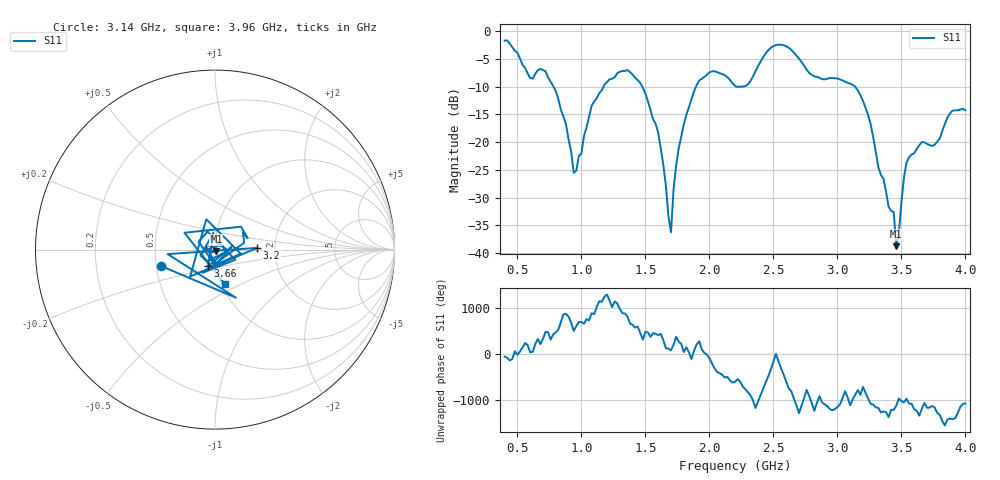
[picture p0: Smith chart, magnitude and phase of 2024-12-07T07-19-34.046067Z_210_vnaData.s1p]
!Created with skrf (http://scikit-rf.org).
# Hz S RI R 50.0
!freq ReS11 ImS11
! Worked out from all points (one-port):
!   181 points, 400 MHz to 4 GHz, reference 50 ohm
!   lowest |S11| = -38.7 dB at 3.46 GHz (marker M1), VSWR 1.02, Z = 50.8 - j0.88 ohm
!   |S11| at or under -10 dB: 782.1 MHz to 1.172 GHz (390.1 MHz wide, 39.9 % of centre); 1.476 GHz to 1.895 GHz (419 MHz wide, 24.9 % of centre); 3.14 GHz to end of sweep (the widest 3 of 4)
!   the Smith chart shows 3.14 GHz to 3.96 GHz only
!   S11 on the Smith chart (normalised r, x): 3.14 GHz: 0.53, -0.11; 3.2 GHz: 1.61, +0.03; 3.66 GHz: 0.91, -0.17; 3.96 GHz: 1.03, -0.41
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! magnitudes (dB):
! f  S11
! 400 MHz  -1.7
! 600 MHz  -8.4
! 720 MHz  -7.2
! 860 MHz  -15.4
! 940 MHz  -25.5
! 1.08 GHz  -13.4
! 1.3 GHz  -7.3
! 1.46 GHz  -9.3
! 1.58 GHz  -16.7
! 1.64 GHz  -24.1
! 1.7 GHz  -36.2
! 1.72 GHz  -28.5
! 1.76 GHz  -21.2
! 1.92 GHz  -8.9
! 2.2 GHz  -9.9
! 2.5 GHz  -2.7
! 2.66 GHz  -3.9
! 3.1 GHz  -9.4
! 3.14 GHz  -10.0
! 3.2 GHz  -12.6
! 3.44 GHz  -32.6
! 3.46 GHz  -38.7
! 3.52 GHz  -26.3
! 3.56 GHz  -22.7
! 3.66 GHz  -20.0
! 3.76 GHz  -20.5
! 3.96 GHz  -14.1
! 4 GHz  -14.2
